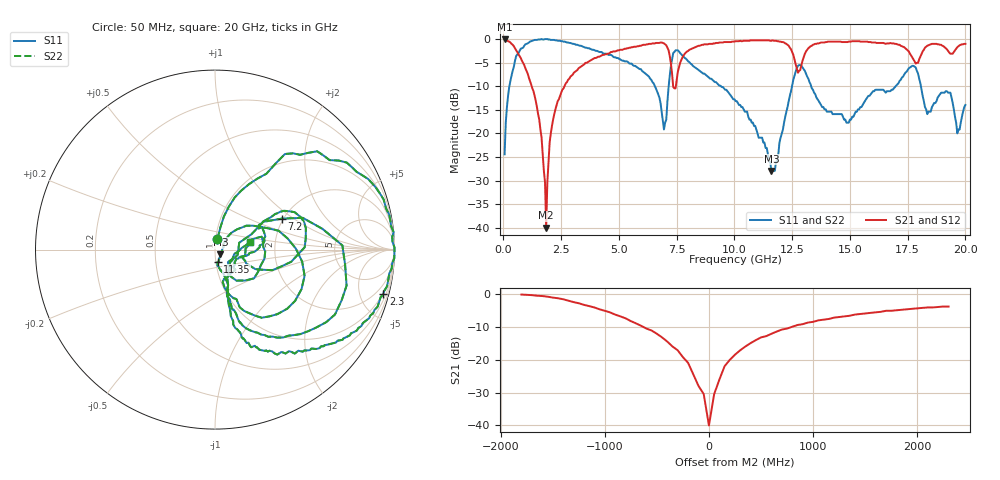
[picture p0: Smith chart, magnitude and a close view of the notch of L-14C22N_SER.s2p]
# MHZ S MA R 50
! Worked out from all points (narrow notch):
!   400 points, 50 MHz to 20 GHz, reference 50 ohm
!   highest |S21| = -0.09 dB at 50 MHz (marker M1); lowest = -40.0 dB at 1.85 GHz (marker M2)
!   notch at M2: 38.6 dB deep, 389 MHz wide at half that depth
!   lowest |S11| = -28.0 dB at 11.6 GHz (marker M3), VSWR 1.08, Z = 53 - j2.81 ohm
!   |S11| at or under -10 dB: 9.419 GHz to 12.5 GHz (3.077 GHz wide, 28.1 % of centre); 13.32 GHz to 16.98 GHz (3.659 GHz wide, 24.1 % of centre); 18.07 GHz to end of sweep (the widest 3 of 5)
!   |S22| runs from -28.0 to 0.0 dB; largest |S21 - S12| = 0
!   S11 on the Smith chart (normalised r, x): 50 MHz: 1.02, +0.12; 2.3 GHz: 0.89, -7.54; 7.2 GHz: 1.96, +0.81; 11.35 GHz: 1.02, -0.14; 20 GHz: 1.48, +0.14
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50  0.06 77.6  0.99 -2.5  0.99 -2.5  0.06 77.6
550  0.66 53.8  0.76 -39.6  0.76 -39.6  0.66 53.8
1350  0.98 16.6  0.25 -75.9  0.25 -75.9  0.98 16.6
1650  1 5.6  0.09 -82.4  0.09 -82.4  1 5.6
1850  1 -1.2  0.01 43.0  0.01 43.0  1 -1.2
2000  0.99 -6.1  0.08 75.9  0.08 75.9  0.99 -6.1
2300  0.97 -14.9  0.2 72.6  0.2 72.6  0.97 -14.9
3400  0.84 -38.4  0.52 51.6  0.52 51.6  0.84 -38.4
6700  0.26 -74.0  0.91 3.2  0.91 3.2  0.26 -74.0
6950  0.11 -41.3  0.9 -7.8  0.9 -7.8  0.11 -41.3
7200  0.41 24.9  0.66 -29.5  0.66 -29.5  0.41 24.9
7400  0.73 -6.7  0.3 -1.9  0.3 -1.9  0.73 -6.7
7750  0.67 -44.6  0.64 29.0  0.64 29.0  0.67 -44.6
10050  0.22 -71.8  0.95 -1.2  0.95 -1.2  0.22 -71.8
11350  0.07 -78.2  0.97 -13.1  0.97 -13.1  0.07 -78.2
11600  0.04 -41.5  0.96 -16.0  0.96 -16.0  0.04 -41.5
12750  0.52 -16.3  0.44 -21.8  0.44 -21.8  0.52 -16.3
13350  0.3 -66.6  0.85 -2.2  0.85 -2.2  0.3 -66.6
14850  0.13 -33.0  0.93 -20.7  0.93 -20.7  0.13 -33.0
16700  0.28 28.1  0.9 -35.0  0.9 -35.0  0.28 28.1
19650  0.1 -44.0  0.82 -31.9  0.82 -31.9  0.1 -44.0
20000  0.2 13.0  0.89 -39.3  0.89 -39.3  0.2 13.0
